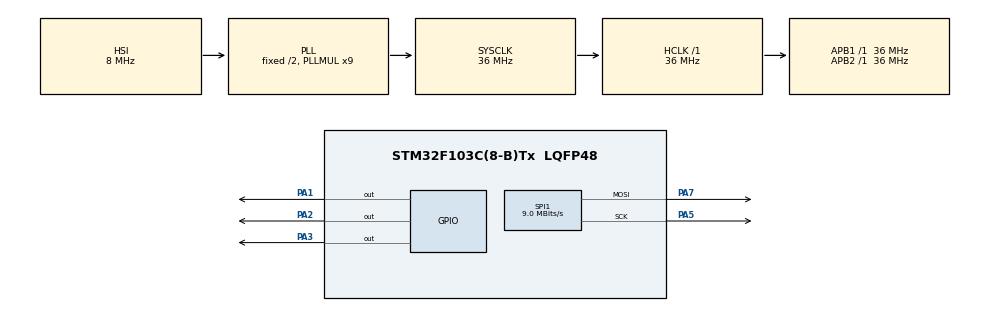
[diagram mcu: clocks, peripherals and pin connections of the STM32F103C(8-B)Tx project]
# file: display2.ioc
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Dma.Request0=SPI1_TX
Dma.SPI1_TX.0.Direction=DMA_MEMORY_TO_PERIPH
Dma.SPI1_TX.0.Instance=DMA1_Channel3
Dma.SPI1_TX.0.MemDataAlignment=DMA_MDATAALIGN_BYTE
Dma.SPI1_TX.0.MemInc=DMA_MINC_ENABLE
Dma.SPI1_TX.0.Mode=DMA_NORMAL
Dma.SPI1_TX.0.PeriphDataAlignment=DMA_PDATAALIGN_BYTE
Dma.SPI1_TX.0.PeriphInc=DMA_PINC_DISABLE
Dma.SPI1_TX.0.Priority=DMA_PRIORITY_LOW
Mcu.Family=STM32F1
Mcu.Name=STM32F103C(8-B)Tx
Mcu.Package=LQFP48
NVIC.DMA1_Channel3_IRQn=true\:0\:0\:false\:false\:true\:false\:true\:true
NVIC.PriorityGroup=NVIC_PRIORITYGROUP_4
PA1.Signal=GPIO_Output
PA13.Mode=Serial_Wire
PA13.Signal=SYS_JTMS-SWDIO
PA14.Mode=Serial_Wire
PA14.Signal=SYS_JTCK-SWCLK
PA2.Signal=GPIO_Output
PA3.Signal=GPIO_Output
PA5.Mode=TX_Only_Simplex_Unidirect_Master
PA5.Signal=SPI1_SCK
PA7.Mode=TX_Only_Simplex_Unidirect_Master
PA7.Signal=SPI1_MOSI
ProjectManager.HeapSize=0x3000
ProjectManager.StackSize=0x1000
ProjectManager.TargetToolchain=STM32CubeIDE
RCC.AHBFreq_Value=36000000
RCC.APB1Freq_Value=36000000
RCC.APB1TimFreq_Value=36000000
RCC.APB2Freq_Value=36000000
RCC.APB2TimFreq_Value=36000000
RCC.HCLKFreq_Value=36000000
RCC.PLLMUL=RCC_PLL_MUL9
RCC.SYSCLKFreq_VALUE=36000000
RCC.SYSCLKSource=RCC_SYSCLKSOURCE_PLLCLK
RCC.USBFreq_Value=36000000
SPI1.BaudRatePrescaler=SPI_BAUDRATEPRESCALER_4
SPI1.CLKPhase=SPI_PHASE_2EDGE
SPI1.CLKPolarity=SPI_POLARITY_HIGH
SPI1.CRCCalculation=SPI_CRCCALCULATION_DISABLE
SPI1.CalculateBaudRate=9.0 MBits/s
SPI1.Direction=SPI_DIRECTION_2LINES
SPI1.Mode=SPI_MODE_MASTER
SPI1.VirtualType=VM_MASTER
board=custom

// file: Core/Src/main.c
/* USER CODE BEGIN Header */
/**
 *
 * https://github.com/Majid-Derhambakhsh/ST7789/

  ******************************************************************************
  * @file           : main.c
  * @brief          : Main program body
  ******************************************************************************
  * @attention
  *
  * Copyright (c) 2025 STMicroelectronics.
  * All rights reserved.
  *
  * This software is licensed under terms that can be found in the LICENSE file
  * in the root directory of this software component.
  * If no LICENSE file comes with this software, it is provided AS-IS.
  *
  ******************************************************************************
  */
/* USER CODE END Header */
#include "main.h"

/* USER CODE BEGIN Includes */

#include "st7789.h"
#include "st7789_font.h"
#include "stdlib.h"
/* USER CODE END Includes */

SPI_HandleTypeDef hspi1;
DMA_HandleTypeDef hdma_spi1_tx;

void SystemClock_Config(void);
static void MX_GPIO_Init(void);
static void MX_DMA_Init(void);
static void MX_SPI1_Init(void);
void ST7789_DrawBitmap(uint16_t, uint16_t, uint16_t, uint16_t, const uint16_t*);

/* USER CODE BEGIN 0 */
const uint16_t smiley_bitmap[16*16] = {
    0xFFFF,0xFFFF,0xFFFF,0xFFFF,0xFFFF,0xFFFF,0xFFFF,0xFFFF,0xFFFF,0xFFFF,0xFFFF,0xFFFF,0xFFFF,0xFFFF,0xFFFF,0xFFFF,
    0xFFFF,0xFFE0,0xFFE0,0xFFFF,0xFFFF,0xFFFF,0xFFE0,0xFFE0,0xFFE0,0xFFE0,0xFFFF,0xFFFF,0xFFFF,0xFFE0,0xFFE0,0xFFFF,
    0xFFFF,0xFFE0,0xFFE0,0xFFFF,0xFFFF,0xFFFF,0xFFE0,0xFFE0,0xFFE0,0xFFE0,0xFFFF,0xFFFF,0xFFFF,0xFFE0,0xFFE0,0xFFFF,
    0xFFFF,0xFFFF,0xFFFF,0xFFFF,0xFFFF,0xFFFF,0xFFFF,0xFFFF,0xFFFF,0xFFFF,0xFFFF,0xFFFF,0xFFFF,0xFFFF,0xFFFF,0xFFFF,
    0xFFFF,0xFFE0,0xFFE0,0xFFFF,0xFFFF,0xFFE0,0xFFE0,0xFFE0,0xFFE0,0xFFE0,0xFFE0,0xFFE0,0xFFFF,0xFFE0,0xFFE0,0xFFFF,
    0xFFFF,0xFFE0,0xFFE0,0xFFFF,0xFFFF,0xFFE0,0xFFE0,0xFFE0,0xFFE0,0xFFE0,0xFFE0,0xFFE0,0xFFFF,0xFFE0,0xFFE0,0xFFFF,
    0xFFFF,0xFFFF,0xFFFF,0xFFFF,0xFFFF,0xFFFF,0xFFFF,0xFFFF,0xFFFF,0xFFFF,0xFFFF,0xFFFF,0xFFFF,0xFFFF,0xFFFF,0xFFFF,
    0xFFFF,0xFFFF,0xFFFF,0xFFFF,0xFFFF,0xFFFF,0xFFFF,0xFFFF,0xFFFF,0xFFFF,0xFFFF,0xFFFF,0xFFFF,0xFFFF,0xFFFF,0xFFFF,
    0xFFFF,0xFFFF,0xFFFF,0xFFFF,0xFFFF,0xFFFF,0xFFFF,0xFFFF,0xFFFF,0xFFFF,0xFFFF,0xFFFF,0xFFFF,0xFFFF,0xFFFF,0xFFFF,
    0xFFFF,0xFFE0,0xFFE0,0xFFFF,0xFFFF,0xFFE0,0xFFE0,0xFFE0,0xFFE0,0xFFE0,0xFFE0,0xFFE0,0xFFFF,0xFFE0,0xFFE0,0xFFFF,
    0xFFFF,0xFFE0,0xFFE0,0xFFFF,0xFFFF,0xFFE0,0xFFE0,0xFFE0,0xFFE0,0xFFE0,0xFFE0,0xFFE0,0xFFFF,0xFFE0,0xFFE0,0xFFFF,
    0xFFFF,0xFFFF,0xFFFF,0xFFFF,0xFFFF,0xFFFF,0xFFFF,0xFFFF,0xFFFF,0xFFFF,0xFFFF,0xFFFF,0xFFFF,0xFFFF,0xFFFF,0xFFFF,
    0xFFFF,0xFFFF,0xFFFF,0xFFFF,0xFFFF,0xFFFF,0xFFFF,0xFFFF,0xFFFF,0xFFFF,0xFFFF,0xFFFF,0xFFFF,0xFFFF,0xFFFF,0xFFFF,
    0xFFFF,0xFFE0,0xFFE0,0xFFFF,0xFFFF,0xFFE0,0xFFE0,0xFFE0,0xFFE0,0xFFE0,0xFFE0,0xFFE0,0xFFFF,0xFFE0,0xFFE0,0xFFFF,
    0xFFFF,0xFFE0,0xFFE0,0xFFFF,0xFFFF,0xFFE0,0xFFE0,0xFFE0,0xFFE0,0xFFE0,0xFFE0,0xFFE0,0xFFFF,0xFFE0,0xFFE0,0xFFFF,
    0xFFFF,0xFFFF,0xFFFF,0xFFFF,0xFFFF,0xFFFF,0xFFFF,0xFFFF,0xFFFF,0xFFFF,0xFFFF,0xFFFF,0xFFFF,0xFFFF,0xFFFF,0xFFFF
};

void test_display()
{
	// Сброс дисплея
	HAL_GPIO_WritePin(RES_GPIO_Port, RES_Pin, GPIO_PIN_RESET);
	HAL_Delay(50);
	HAL_GPIO_WritePin(RES_GPIO_Port, RES_Pin, GPIO_PIN_SET);
	HAL_Delay(50);

	HAL_GPIO_WritePin(GPIOA, GPIO_PIN_3, GPIO_PIN_SET); //BLK
	// Sleep Out
	uint8_t cmd = 0x11;
	HAL_GPIO_WritePin(DC_GPIO_Port, DC_Pin, GPIO_PIN_RESET);
	HAL_SPI_Transmit(&hspi1, &cmd, 1, HAL_MAX_DELAY);
	HAL_Delay(120);

	// Display ON
	cmd = 0x29;
	HAL_GPIO_WritePin(DC_GPIO_Port, DC_Pin, GPIO_PIN_RESET);
	HAL_SPI_Transmit(&hspi1, &cmd, 1, HAL_MAX_DELAY);

	// Заливка красным (очень упрощённо)
	cmd = 0x2C; // Memory Write
	HAL_GPIO_WritePin(DC_GPIO_Port, DC_Pin, GPIO_PIN_RESET);
	HAL_SPI_Transmit(&hspi1, &cmd, 1, HAL_MAX_DELAY);

	HAL_GPIO_WritePin(DC_GPIO_Port, DC_Pin, GPIO_PIN_SET); // Data
	for (int i=0; i<240*240; i++) {
	  uint8_t color[2] = {0xF8, 0x00}; // красный (RGB565)
	  HAL_SPI_Transmit(&hspi1, color, 2, HAL_MAX_DELAY);
	}
}

void ST7789_Demo(void)
{
    // 1. Тест заливки цветами
    ST7789_FillScreen(ST7789_COLOR_RED);
    HAL_Delay(500);
    ST7789_FillScreen(ST7789_COLOR_GREEN);
    HAL_Delay(500);
    ST7789_FillScreen(ST7789_COLOR_BLUE);
    HAL_Delay(500);
    ST7789_FillScreen(ST7789_COLOR_BLACK);
    HAL_Delay(500);
    ST7789_FillScreen(ST7789_COLOR_WHITE);
    HAL_Delay(500);
    ST7789_FillScreen(ST7789_COLOR_BLACK);

    // 2. Текст
    ST7789_PutString(10, 10, "ST7789 Demo", Font_16x26, ST7789_COLOR_YELLOW, ST7789_COLOR_BLACK);
    HAL_Delay(1000);

    // 3. Геометрические фигуры
    ST7789_DrawRectangle(20, 60, 100, 100, ST7789_COLOR_RED);        // прямоугольник
    ST7789_DrawFilledRectangle(130, 60, 210, 100, ST7789_COLOR_BLUE);// залитый прямоугольник
    HAL_Delay(1000);

    ST7789_DrawCircle(60, 160, 40, ST7789_COLOR_GREEN);             // окружность
    ST7789_DrawFilledCircle(180, 160, 30, ST7789_COLOR_MAGENTA);    // залитая окружность
    HAL_Delay(1000);

    // 4. Линии
    ST7789_DrawLine(0, 0, 239, 239, ST7789_COLOR_CYAN);   // диагональ
    ST7789_DrawLine(0, 239, 239, 0, ST7789_COLOR_ORANGE); // другая диагональ
    HAL_Delay(1000);

    // 5. "Шахматка"
    for (uint16_t y = 0; y < 240; y += 30)
    {
        for (uint16_t x = 0; x < 240; x += 30)
        {
            if (((x + y) / 30) % 2 == 0)
                ST7789_DrawFilledRectangle(x, y, x + 29, y + 29, ST7789_COLOR_WHITE);
            else
                ST7789_DrawFilledRectangle(x, y, x + 29, y + 29, ST7789_COLOR_BLACK);
        }
    }
    HAL_Delay(2000);
    ST7789_FillScreen(ST7789_COLOR_BLACK);
    ST7789_DrawBitmap(112, 112, 16, 16, smiley_bitmap);
    HAL_Delay(3000);

    // 6. Возврат к чёрному экрану
    ST7789_FillScreen(ST7789_COLOR_BLACK);
    ST7789_PutString(30, 100, "Demo Done!", Font_16x26, ST7789_COLOR_GREEN, ST7789_COLOR_BLACK);
}

void ST7789_DrawBitmap(uint16_t x, uint16_t y, uint16_t w, uint16_t h, const uint16_t *bitmap)
{
	ST7789_SetWindowAddress(x, y, x + w - 1, y + h - 1);

    // отправляем массив как данные
    for (uint32_t i = 0; i < w * h; i++)
    {
        uint8_t data[2];
        data[0] = bitmap[i] >> 8;      // старший байт
        data[1] = bitmap[i] & 0xFF;    // младший байт
        ST7789_TransmitData(data, 2);
    }
}

/* USER CODE END 0 */

int main(void)
{

  /* MCU Configuration--------------------------------------------------------*/

  /* Reset of all peripherals, Initializes the Flash interface and the Systick. */
  HAL_Init();

  /* Configure the system clock */
  SystemClock_Config();

  /* Initialize all configured peripherals */
  MX_GPIO_Init();
  MX_DMA_Init();
  MX_SPI1_Init();
  /* USER CODE BEGIN 2 */

  //test_display();
  //HAL_Delay(5000);
  /* USER CODE END 2 */
  HAL_GPIO_WritePin(GPIOA, GPIO_PIN_3, GPIO_PIN_SET); //BLK (включаем подсветку)
  /* Infinite loop */
  /* USER CODE BEGIN WHILE */
  ST7789_Init();

  //ST7789_FillScreen(ST7789_COLOR_BLACK);
  //ST7789_PutString(10, 10, "Hello", Font_16x26, ST7789_COLOR_RED, ST7789_COLOR_BLACK);

  ST7789_Demo();

  while (1)
  {
    //HAL_GPIO_TogglePin(GPIOA, GPIO_PIN_3); //экран мигает
    //HAL_Delay(2000);
    /* USER CODE END WHILE */

  }
}

void SystemClock_Config(void)
{
  RCC_OscInitTypeDef RCC_OscInitStruct = {0};
  RCC_ClkInitTypeDef RCC_ClkInitStruct = {0};

  /** Initializes the RCC Oscillators according to the specified parameters
  * in the RCC_OscInitTypeDef structure.
  */
  RCC_OscInitStruct.OscillatorType = RCC_OSCILLATORTYPE_HSI;
  RCC_OscInitStruct.HSIState = RCC_HSI_ON;
  RCC_OscInitStruct.HSICalibrationValue = RCC_HSICALIBRATION_DEFAULT;
  RCC_OscInitStruct.PLL.PLLState = RCC_PLL_ON;
  RCC_OscInitStruct.PLL.PLLSource = RCC_PLLSOURCE_HSI_DIV2;
  RCC_OscInitStruct.PLL.PLLMUL = RCC_PLL_MUL9;
  if (HAL_RCC_OscConfig(&RCC_OscInitStruct) != HAL_OK)
  {
    Error_Handler();
  }

  /** Initializes the CPU, AHB and APB buses clocks
  */
  RCC_ClkInitStruct.ClockType = RCC_CLOCKTYPE_HCLK|RCC_CLOCKTYPE_SYSCLK
                              |RCC_CLOCKTYPE_PCLK1|RCC_CLOCKTYPE_PCLK2;
  RCC_ClkInitStruct.SYSCLKSource = RCC_SYSCLKSOURCE_PLLCLK;
  RCC_ClkInitStruct.AHBCLKDivider = RCC_SYSCLK_DIV1;
  RCC_ClkInitStruct.APB1CLKDivider = RCC_HCLK_DIV1;
  RCC_ClkInitStruct.APB2CLKDivider = RCC_HCLK_DIV1;

  if (HAL_RCC_ClockConfig(&RCC_ClkInitStruct, FLASH_LATENCY_1) != HAL_OK)
  {
    Error_Handler();
  }
}

static void MX_SPI1_Init(void)
{

  /* SPI1 parameter configuration*/
  hspi1.Instance = SPI1;
  hspi1.Init.Mode = SPI_MODE_MASTER;
  hspi1.Init.Direction = SPI_DIRECTION_2LINES;
  hspi1.Init.DataSize = SPI_DATASIZE_8BIT;
  hspi1.Init.CLKPolarity = SPI_POLARITY_HIGH;
  hspi1.Init.CLKPhase = SPI_PHASE_2EDGE;
  hspi1.Init.NSS = SPI_NSS_SOFT;
  hspi1.Init.BaudRatePrescaler = SPI_BAUDRATEPRESCALER_4;
  hspi1.Init.FirstBit = SPI_FIRSTBIT_MSB;
  hspi1.Init.TIMode = SPI_TIMODE_DISABLE;
  hspi1.Init.CRCCalculation = SPI_CRCCALCULATION_DISABLE;
  hspi1.Init.CRCPolynomial = 10;
  if (HAL_SPI_Init(&hspi1) != HAL_OK)
  {
    Error_Handler();
  }

}

static void MX_DMA_Init(void)
{

  /* DMA controller clock enable */
  __HAL_RCC_DMA1_CLK_ENABLE();

  /* DMA interrupt init */
  /* DMA1_Channel3_IRQn interrupt configuration */
  HAL_NVIC_SetPriority(DMA1_Channel3_IRQn, 0, 0);
  HAL_NVIC_EnableIRQ(DMA1_Channel3_IRQn);

}

static void MX_GPIO_Init(void)
{
  GPIO_InitTypeDef GPIO_InitStruct = {0};

  /* GPIO Ports Clock Enable */
  __HAL_RCC_GPIOA_CLK_ENABLE();

  /*Configure GPIO pin Output Level */
  HAL_GPIO_WritePin(GPIOA, GPIO_PIN_1|GPIO_PIN_2|GPIO_PIN_3, GPIO_PIN_RESET);

  /*Configure GPIO pins : PA1 PA2 PA3 */
  GPIO_InitStruct.Pin = GPIO_PIN_1|GPIO_PIN_2|GPIO_PIN_3;
  GPIO_InitStruct.Mode = GPIO_MODE_OUTPUT_PP;
  GPIO_InitStruct.Pull = GPIO_NOPULL;
  GPIO_InitStruct.Speed = GPIO_SPEED_FREQ_LOW;
  HAL_GPIO_Init(GPIOA, &GPIO_InitStruct);

}

void Error_Handler(void)
{
  __disable_irq();
  while (1)
  {
  }
}
